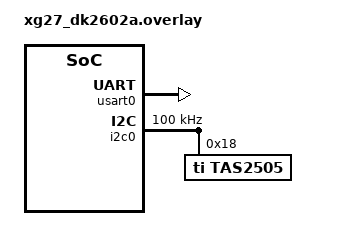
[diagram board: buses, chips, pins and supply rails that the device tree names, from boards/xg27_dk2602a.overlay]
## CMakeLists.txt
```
# SPDX-License-Identifier: Apache-2.0

cmake_minimum_required(VERSION 3.20.0)

find_package(Zephyr REQUIRED HINTS $ENV{ZEPHYR_BASE})
project(tas2505)

# Application configurations
set(FRAME_CLK_HZ 16000 CACHE STRING "I2S frame clock (Hz) for this sample")
set(WORD_SIZE 16 CACHE STRING "I2S sample word size in bits (16 or 32)")
set(AUDIO_SOURCE short_songs CACHE STRING "short_songs: runtime PD melodies | sine1khz: 1 kHz clock-validation tone (SRS 2.b)")
set(PLAYBACK_MODE one_shot CACHE STRING
	"Playback lifetime: one_shot (play once + stop + gate BCLK/LRCLK) | loopback (replay forever)")
set(CHANNEL_MODE mono_right CACHE STRING
	"Channel routing: mono_left | mono_right")

if(CHANNEL_MODE STREQUAL "mono_left")
	set(EXTRA_DTC_OVERLAY_FILE ${CMAKE_CURRENT_SOURCE_DIR}/boards/mono_left.overlay)
endif()

if(NOT WORD_SIZE STREQUAL "16" AND NOT WORD_SIZE STREQUAL "32")
	message(FATAL_ERROR "WORD_SIZE must be 16 or 32 (got ${WORD_SIZE})")
endif()

if(NOT AUDIO_SOURCE STREQUAL "short_songs"
   AND NOT AUDIO_SOURCE STREQUAL "sine1khz")
	message(FATAL_ERROR
		"AUDIO_SOURCE must be short_songs | sine1khz "
		"(got ${AUDIO_SOURCE})")
endif()

# sine1khz uses one of four pre-quantized 1 kHz clips (Fs = 8/16/44.1/48 kHz)
# generated by src/tools/gen_sine_pcm.py. Each clip is loop-clean at its
# native rate, so reject any FRAME_CLK_HZ outside the SRS-supported set.
set(_sine1khz_allowed_fs 8000 16000 44100 48000)
if(AUDIO_SOURCE STREQUAL "sine1khz"
   AND NOT FRAME_CLK_HZ IN_LIST _sine1khz_allowed_fs)
	message(FATAL_ERROR
		"AUDIO_SOURCE=sine1khz requires FRAME_CLK_HZ in "
		"{8000, 16000, 44100, 48000} (got ${FRAME_CLK_HZ}). "
		"Regenerate the clip with src/tools/gen_sine_pcm.py if "
		"you need a different rate.")
endif()

if(PLAYBACK_MODE STREQUAL "one_shot")
	set(PLAYBACK_LOOP 0)
elseif(PLAYBACK_MODE STREQUAL "loopback")
	set(PLAYBACK_LOOP 1)
else()
	message(FATAL_ERROR
		"PLAYBACK_MODE must be one_shot or loopback (got ${PLAYBACK_MODE})")
endif()

if(NOT CHANNEL_MODE STREQUAL "mono_left"
   AND NOT CHANNEL_MODE STREQUAL "mono_right")
	message(FATAL_ERROR
		"CHANNEL_MODE must be mono_left | mono_right "
		"(got ${CHANNEL_MODE})")
endif()

target_compile_definitions(app PRIVATE
	"FRAME_CLK_HZ=${FRAME_CLK_HZ}"
	"WORD_SIZE_BITS=${WORD_SIZE}"
	"CHANNEL_MODE_NAME=\"${CHANNEL_MODE}\""
	"PLAYBACK_LOOP=${PLAYBACK_LOOP}"
	"PLAYBACK_MODE_NAME=\"${PLAYBACK_MODE}\""
)

message(STATUS "tas2505: CHANNEL_MODE=${CHANNEL_MODE}")
message(STATUS "tas2505: PLAYBACK_MODE=${PLAYBACK_MODE} (loop=${PLAYBACK_LOOP})")

target_sources(app PRIVATE src/main.c src/tas2505.c)

if(AUDIO_SOURCE STREQUAL "sine1khz")
	target_compile_definitions(app PRIVATE AUDIO_SOURCE_SINE1KHZ=1)
	# Link exactly one pre-quantized clip matching FRAME_CLK_HZ; the others
	# stay out of the build entirely so flash usage is the cost of one clip.
	if(FRAME_CLK_HZ STREQUAL "8000")
		set(_sine_clip_src src/audio_sine/sine_8k.c)
	elseif(FRAME_CLK_HZ STREQUAL "16000")
		set(_sine_clip_src src/audio_sine/sine_16k.c)
	elseif(FRAME_CLK_HZ STREQUAL "44100")
		set(_sine_clip_src src/audio_sine/sine_44k.c)
	elseif(FRAME_CLK_HZ STREQUAL "48000")
		set(_sine_clip_src src/audio_sine/sine_48k.c)
	endif()
	target_sources(app PRIVATE
		src/audio_sine/audio_sine.c
		${_sine_clip_src})
	message(STATUS "tas2505: AUDIO_SOURCE=sine1khz @ FRAME_CLK_HZ=${FRAME_CLK_HZ} "
		"(clip: ${_sine_clip_src})")
else()
	target_compile_definitions(app PRIVATE AUDIO_SOURCE_SHORT_SONGS=1)
	target_sources(app PRIVATE src/audio_short_songs.c)
	message(STATUS "tas2505: AUDIO_SOURCE=short_songs @ FRAME_CLK_HZ=${FRAME_CLK_HZ} WORD_SIZE=${WORD_SIZE}")
endif()
```

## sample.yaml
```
sample:
  description: I2S TX to TAS2505 codec using EFR32 USART (xG27-DK2602A overlay)
  name: TAS2505 I2S TX
common:
  tags:
    - drivers
    - i2s
tests:
  sample.drivers.i2s.tas2505:
    build_only: true
    filter: dt_alias_exists("i2s-tx")
    platform_allow:
      - xg27_dk2602a
      - xg27_rb4194a
    integration_platforms:
      - xg27_dk2602a
      - xg27_rb4194a
  sample.drivers.i2s.tas2505.word_size_32:
    build_only: true
    filter: dt_alias_exists("i2s-tx")
    platform_allow:
      - xg27_dk2602a
      - xg27_rb4194a
    integration_platforms:
      - xg27_dk2602a
      - xg27_rb4194a
    extra_args: WORD_SIZE=32
  sample.drivers.i2s.tas2505.short_songs:
    build_only: true
    filter: dt_alias_exists("i2s-tx")
    platform_allow:
      - xg27_dk2602a
      - xg27_rb4194a
    integration_platforms:
      - xg27_rb4194a
    extra_args: AUDIO_SOURCE=short_songs FRAME_CLK_HZ=16000 WORD_SIZE=16
  sample.drivers.i2s.tas2505.mono_left:
    build_only: true
    filter: dt_alias_exists("i2s-tx")
    platform_allow:
      - xg27_dk2602a
      - xg27_rb4194a
    integration_platforms:
      - xg27_rb4194a
    extra_args: AUDIO_SOURCE=short_songs CHANNEL_MODE=mono_left
  sample.drivers.i2s.tas2505.mono_right:
    build_only: true
    filter: dt_alias_exists("i2s-tx")
    platform_allow:
      - xg27_dk2602a
      - xg27_rb4194a
    integration_platforms:
      - xg27_rb4194a
    extra_args: AUDIO_SOURCE=short_songs CHANNEL_MODE=mono_right
```

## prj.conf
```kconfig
CONFIG_LOG=y
CONFIG_DMA=y
CONFIG_I2S=y
CONFIG_I2C=y
CONFIG_PRINTK=y

CONFIG_MAIN_STACK_SIZE=2048
```

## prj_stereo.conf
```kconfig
# Overlay applied automatically when CMake is invoked with -DSTEREO=1.
# Switches the EFR32 USART-I2S driver from MONO HW to STEREO HW so
# i2s_configure() accepts channels=2.
CONFIG_I2S_SILABS_EFR32_USART_STEREO=y
```

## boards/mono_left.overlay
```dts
/*
 * CHANNEL_MODE=mono_left: route mono samples to the LRCLK-low slot via DT
 * (default is right). See silabs,efr32-usart-i2s binding.
 */
&usart0 {
	silabs,mono-tx-slot = "left";
};
```

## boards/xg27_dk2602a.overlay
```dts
/*
 * xG27-DK2602A: USART0 is routed by default to the on-board MX25R8035F
 * flash as SPI (PC0/PC1/PC2/PC3). This overlay disables that flash node,
 * drops the SPI cs-gpios, and re-purposes the same pins as USART0 I2S
 * (TX=PC0, RX=PC1, SCLK=PC2, WS/CS=PC3) for driving a TAS2505 codec.
 */

#include <zephyr/dt-bindings/pinctrl/silabs/xg27-pinctrl.h>
#include <zephyr/dt-bindings/dma/silabs/xg27-dma.h>

&dma0 {
	status = "okay";
};

/ {
	aliases {
		i2s-tx = &usart0;
	};
};

&pinctrl {
	usart0_i2s_default: usart0_i2s_default {
		group0 {
			pins = <USART0_TX_PC0>, <USART0_CLK_PC2>, <USART0_CS_PB2>;
			drive-push-pull;
			output-high;
		};

		group1 {
			pins = <USART0_RX_PC1>;
			input-enable;
		};
	};
};

/* MX25R8035F on the thunderboard shares USART0/PC0-PC3 with I2S use. */
/delete-node/ &mx25r80;

&usart0 {
	compatible = "silabs,usart-i2s";
	/delete-property/ cs-gpios;
	#address-cells = <1>;
	#size-cells = <0>;
	status = "okay";
	pinctrl-0 = <&usart0_i2s_default>;
	pinctrl-names = "default";
	/* MCLK via silabs,mclk-out — do not list &clkout2 under clocks. */
	silabs,mclk-out = <&clkout2>;
	dmas = <&dma0 DMA_REQSEL_USART0TXBL>,
	       <&dma0 DMA_REQSEL_USART0TXBLRIGHT>,
	       <&dma0 DMA_REQSEL_USART0RXDATAV>;
	dma-names = "txbl", "txblright", "rx";
};

/*
 * MCLK via CMU CLKOUT2 on PB0. SYSCLK = HFRCODPLL = 76.8 MHz (default, untouched).
 * Source EXPORTCLK (HFEXPCLK) with clock-div = 4 -> 19.2 MHz on the pin.
 * Pin mux + EXPORTCLK enable happen on I2S configure (clock_control_on).
 */
&pinctrl {
	clkout_default: clkout_default {
		group0 {
			pins = <CMU_CLKOUT2_PB0>;
			drive-push-pull;
		};
	};
};

&exportclk {
	clock-div = <4>;	/* SYSCLK 76.8 MHz / 4 = 19.2 MHz */
};
&clkout {
	pinctrl-0 = <&clkout_default>;
	pinctrl-names = "default";
	status = "okay";
};
&clkout2 {
	clocks = <&exportclk>;
	status = "okay";
};

/*
 * I2C0 control bus to TAS2505.  Confirm the SDA/SCL pin pair on your wiring
 * (xG27 DK2602A breaks I2C0 out as PD2/PD3 by default).
 */
&pinctrl {
	i2c0_default: i2c0_default {
		group0 {
			/* TODO: replace with the SDA/SCL pads you wired. */
			pins = <I2C0_SDA_PD2>, <I2C0_SCL_PD3>;
			drive-open-drain;
			bias-pull-up;
		};
	};
};

&i2c0 {
	status = "okay";
	pinctrl-0 = <&i2c0_default>;
	pinctrl-names = "default";
	clock-frequency = <I2C_BITRATE_STANDARD>; /* 100 kHz; bump to FAST if needed */

	tas2505: tas2505@18 {
		compatible = "ti,tas2505";  /* informational; no Zephyr driver */
		reg = <0x18>;
		status = "okay";
	};
};

/ {
	aliases {
		codec-tas2505 = &i2c0;
	};
};
```

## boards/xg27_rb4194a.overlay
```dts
/*
 * xG27-RB4194A (BRD4194A): EUSART0 uses PC0/PC1/PC2 for the on-board MX25R8035F
 * SPI flash. This overlay disables that flash (and EUSART0), then configures
 * USART0 in I2S mode on the same pins plus PC3 for word select.
 *
 * I2C0 stays on PB2/PB3 (board default) for the TAS2505 control bus.
 * USART1 remains the console (PA5/PA6).
 *
 * Wire I2S to the expansion header: PC0=TX (EXP4), PC1=RX (EXP6),
 * PC2=BCLK (EXP8), PC3=LRCLK (EXP10).
 * MCLK is CMU CLKOUT2 on PB0 (EXP7), 19.2 MHz (EXPORTCLK / 4).
 * Note: PB0 is shared with on-board LED0 / button0.
 */

#include <zephyr/dt-bindings/pinctrl/silabs/xg27-pinctrl.h>
#include <zephyr/dt-bindings/dma/silabs/xg27-dma.h>

&dma0 {
	status = "okay";
};

/ {
	aliases {
		i2s-tx = &usart0;
		/delete-property/ spi-flash0;
	};
};

&pinctrl {
	usart0_i2s_default: usart0_i2s_default {
		group0 {
			pins = <USART0_TX_PC0>, <USART0_CLK_PC2>, <USART0_CS_PC3>;
			drive-push-pull;
			output-high;
		};

		group1 {
			pins = <USART0_RX_PC1>;
			input-enable;
		};
	};
};

&mx25r80 {
	status = "disabled";
};

&ls013b7dh03 {
	status = "disabled";
};

&eusart0 {
	status = "disabled";
};

&usart0 {
	compatible = "silabs,usart-i2s";
	#address-cells = <1>;
	#size-cells = <0>;
	status = "okay";
	pinctrl-0 = <&usart0_i2s_default>;
	pinctrl-names = "default";
	/*
	 * MCLK via silabs,mclk-out (not clocks/clock-names): listing &clkout2
	 * under clocks hung boot on RB4194A before UART (bisect a1a174a92).
	 */
	silabs,mclk-out = <&clkout2>;
	dmas = <&dma0 DMA_REQSEL_USART0TXBL>,
	       <&dma0 DMA_REQSEL_USART0TXBLRIGHT>,
	       <&dma0 DMA_REQSEL_USART0RXDATAV>;
	dma-names = "txbl", "txblright", "rx";
};

/* MCLK via CMU CLKOUT2 on PB0 (EXP7): EXPORTCLK / clock-div 4 = 19.2 MHz. */
&pinctrl {
	clkout_default: clkout_default {
		group0 {
			pins = <CMU_CLKOUT2_PB0>;
			drive-push-pull;
		};
	};
};

&exportclk {
	clock-div = <4>;	/* SYSCLK 76.8 MHz / 4 = 19.2 MHz */
};
&clkout {
	pinctrl-0 = <&clkout_default>;
	pinctrl-names = "default";
	status = "okay";
};
&clkout2 {
	clocks = <&exportclk>;
	status = "okay";
};

&i2c0 {
	tas2505: tas2505@18 {
		compatible = "ti,tas2505";
		reg = <0x18>;
		status = "okay";
	};
};

/ {
	aliases {
		codec-tas2505 = &i2c0;
	};
};
```

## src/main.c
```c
/*
 * Copyright (c) 2026 Silicon Laboratories Inc.
 *
 * SPDX-License-Identifier: Apache-2.0
 *
 * Plays audio on USART0 I2S for TAS2505 / I2S DAC.
 *
 * Build-time audio source (CMake AUDIO_SOURCE):
 *   short_songs - runtime public-domain melodies (FRAME_CLK_HZ, WORD_SIZE_BITS)
 *   sine1khz    - pre-quantized 1 kHz clip (FRAME_CLK_HZ must match clip rate)
 *
 * Build-time channel routing (CMake CHANNEL_MODE, mono DMASPLIT only):
 *   mono_left  - audio in L slot, R silent (boards/mono_left.overlay sets
 *                silabs,mono-tx-slot = "left")
 *   mono_right - audio in R slot, L silent (default silabs,mono-tx-slot)
 */

#include <string.h>

#include <zephyr/devicetree.h>
#include <zephyr/kernel.h>
#include <zephyr/drivers/i2c.h>
#include <zephyr/drivers/i2s.h>
#include <zephyr/logging/log.h>

#include "audio.h"
#include "app_config.h"
#include "tas2505.h"

#define CODEC_I2C_NODE DT_ALIAS(codec_tas2505)

#if DT_HAS_COMPAT_STATUS_OKAY(silabs_series_clock_clkout)
/*
 * MCLK comes from a CMU CLKOUT (silabs,series-clock-clkout) sourced from
 * EXPORTCLK (HFEXPCLK = SYSCLK) divided by clock-div. SYSCLK = HFRCODPLL
 * default 76.8 MHz on xG27, so clock-div = 4 -> 19.2 MHz.
 */
#define TAS2505_MCO_NODE  DT_COMPAT_GET_ANY_STATUS_OKAY(silabs_series_clock_clkout)
#define TAS2505_SYSCLK_HZ 76800000U
#define CODEC_MCLK_HZ     (TAS2505_SYSCLK_HZ / (uint32_t)DT_PROP_OR(TAS2505_MCO_NODE, clock_div, 1))
#else
#define CODEC_MCLK_HZ 19200000U
#endif

LOG_MODULE_REGISTER(tas2505_sample, LOG_LEVEL_INF);


#if WORD_SIZE_BITS == 16
typedef int16_t sample_t;
#define SAMPLE_EXPAND(m) ((sample_t)(m))
#elif WORD_SIZE_BITS == 32
typedef int32_t sample_t;
/*
 * The EFR32 USART I2S driver runs in W32D16 (32-bit slot, 16-bit data); the
 * driver comment in i2s_silabs_efr32_usart.c is explicit:
 *
 *   W32D16: int32_t [L0, R0, L1, R1, ...]    -- audio in low 16 bits
 *
 * So we put the int16 mono sample into the LOW 16 bits of the int32 slot
 * and leave the upper 16 bits as zero. The cast chain int16 -> uint16 ->
 * uint32 keeps the sign-magnitude bits intact without sign-extending into
 * the upper half (which the USART would otherwise shift out as garbage).
 */
#define SAMPLE_EXPAND(m) ((sample_t)(uint32_t)(uint16_t)(int16_t)(m))
#else
#error "WORD_SIZE_BITS must be 16 or 32"
#endif

#define NUM_BLOCKS         8
#define SAMPLES_PER_BLOCK  256
#define PREROLL_BLOCKS     0
#define TAIL_SILENT_BLOCKS 0
#define BLOCK_FRAMES       SAMPLES_PER_BLOCK
#define DRAIN_TIMEOUT_MS   2000U
#define I2S_CHANNELS 1U
#define BLOCK_SIZE   (SAMPLES_PER_BLOCK * (int)sizeof(sample_t))
#define I2S_OPTIONS (I2S_OPT_FRAME_CLK_CONTROLLER | I2S_OPT_BIT_CLK_CONTROLLER)

K_MEM_SLAB_DEFINE(tx_slab, WB_UP(BLOCK_SIZE), NUM_BLOCKS, WB_UP(32));

static void fill_block(sample_t *tx, unsigned n)
{
#if WORD_SIZE_BITS == 16
  audio_fill_mono(tx, n);
#else
  int16_t mono[SAMPLES_PER_BLOCK];

  audio_fill_mono(mono, n);
  for (unsigned i = 0; i < n; i++) {
    tx[i] = SAMPLE_EXPAND(mono[i]);
  }
#endif
}

int main(void)
{
  void *tx_block;
  struct i2s_config i2s_cfg;
  int ret;
  const struct device *dev = DEVICE_DT_GET(DT_ALIAS(i2s_tx));

  audio_init();

  LOG_INF("sample start board=%s audio=%s channels=%s i2s_ch=%u playback=%s "
          "FRAME_CLK_HZ=%d WORD_SIZE=%d block=%u",
          CONFIG_BOARD_TARGET, audio_source_name(), CHANNEL_MODE_NAME,
          (unsigned int)I2S_CHANNELS, PLAYBACK_MODE_NAME, FRAME_CLK_HZ,
          WORD_SIZE_BITS, (unsigned int)BLOCK_SIZE);

  if (!device_is_ready(dev)) {
    LOG_ERR("I2S device not ready");
    return -ENODEV;
  }

  i2s_cfg.word_size = WORD_SIZE_BITS;
  i2s_cfg.channels = I2S_CHANNELS;
  i2s_cfg.format = I2S_FMT_DATA_FORMAT_I2S;
  i2s_cfg.frame_clk_freq = FRAME_CLK_HZ;
  i2s_cfg.block_size = BLOCK_SIZE;
  i2s_cfg.timeout = 2000;
  i2s_cfg.options = I2S_OPTIONS;
  i2s_cfg.mem_slab = &tx_slab;

  ret = i2s_configure(dev, I2S_DIR_TX, &i2s_cfg);
  if (ret < 0) {
    LOG_ERR("i2s_configure failed: %d", ret);
    return ret;
  }
  LOG_INF("i2s_configure ok");

  const struct device *codec_i2c = DEVICE_DT_GET(CODEC_I2C_NODE);
  const struct tas2505_init_params codec_p = {
    .mclk_hz = CODEC_MCLK_HZ,
    .sample_rate = FRAME_CLK_HZ,
    .word_bits = WORD_SIZE_BITS,
    .mcu_is_master = true,
  };

  LOG_INF("TAS2505 MCLK from DT: %u Hz", CODEC_MCLK_HZ);
  ret = tas2505_init(codec_i2c, &codec_p);
  if (ret < 0) {
    LOG_ERR("tas2505_init failed: %d", ret);
    return ret;
  }

  for (unsigned int i = 0U; i < PREROLL_BLOCKS; i++) {
    ret = k_mem_slab_alloc(&tx_slab, &tx_block, K_FOREVER);
    if (ret < 0) {
      LOG_ERR("slab alloc (pre-roll) failed: %d", ret);
      return ret;
    }
    memset(tx_block, 0, BLOCK_SIZE);
    ret = i2s_write(dev, tx_block, BLOCK_SIZE);
    if (ret < 0) {
      LOG_ERR("i2s_write (pre-roll) failed: %d", ret);
      return ret;
    }
  }
  LOG_INF("pre-roll queued: %u silent blocks", (unsigned int)PREROLL_BLOCKS);

  LOG_INF("I2S START @ %d Hz", FRAME_CLK_HZ);
  ret = i2s_trigger(dev, I2S_DIR_TX, I2S_TRIGGER_START);
  if (ret < 0) {
    LOG_ERR("i2s_trigger START failed: %d", ret);
    return ret;
  }

#if PLAYBACK_LOOP
  /*
   * Loopback mode: stream forever; audio_is_done() is hard-wired to
   * false so the source itself wraps back to the start of the clip /
   * playlist.
   */
  while (1) {
    ret = k_mem_slab_alloc(&tx_slab, &tx_block, K_FOREVER);
    if (ret < 0) {
      LOG_ERR("slab alloc failed: %d", ret);
      return ret;
    }

    fill_block((sample_t *)tx_block, SAMPLES_PER_BLOCK);

    ret = i2s_write(dev, tx_block, BLOCK_SIZE);
    if (ret < 0) {
      LOG_ERR("i2s_write failed: %d", ret);
      return ret;
    }
  }
#else
  /* One-shot playback: stream blocks until the audio source signals done. */
  while (!audio_is_done()) {
    ret = k_mem_slab_alloc(&tx_slab, &tx_block, K_FOREVER);
    if (ret < 0) {
      LOG_ERR("slab alloc failed: %d", ret);
      return ret;
    }

    fill_block((sample_t *)tx_block, SAMPLES_PER_BLOCK);

    ret = i2s_write(dev, tx_block, BLOCK_SIZE);
    if (ret < 0) {
      LOG_ERR("i2s_write failed: %d", ret);
      return ret;
    }
  }

  LOG_INF("audio source reports done; queuing %u silent tail blocks",
          (unsigned int)TAIL_SILENT_BLOCKS);

  for (unsigned int i = 0U; i < TAIL_SILENT_BLOCKS; i++) {
    ret = k_mem_slab_alloc(&tx_slab, &tx_block, K_FOREVER);
    if (ret < 0) {
      LOG_ERR("slab alloc (tail) failed: %d", ret);
      return ret;
    }
    memset(tx_block, 0, BLOCK_SIZE);
    ret = i2s_write(dev, tx_block, BLOCK_SIZE);
    if (ret < 0) {
      LOG_ERR("i2s_write (tail) failed: %d", ret);
      return ret;
    }
  }

  ret = i2s_trigger(dev, I2S_DIR_TX, I2S_TRIGGER_DRAIN);
  if (ret < 0) {
    LOG_ERR("i2s_trigger DRAIN failed: %d", ret);
    return ret;
  }

  const uint32_t drain_ms_est = (uint32_t)((NUM_BLOCKS + TAIL_SILENT_BLOCKS)
                                           * BLOCK_FRAMES * 1000ULL
                                           / (uint32_t)FRAME_CLK_HZ) + 100U;
  const uint32_t drain_ms = drain_ms_est < DRAIN_TIMEOUT_MS
                            ? drain_ms_est : DRAIN_TIMEOUT_MS;

  LOG_INF("draining (~%u ms)...", (unsigned int)drain_ms);
  k_sleep(K_MSEC(drain_ms));

  struct i2s_config i2s_off = { 0 };

  ret = i2s_configure(dev, I2S_DIR_TX, &i2s_off);
  if (ret < 0) {
    LOG_ERR("i2s_configure(off) failed: %d", ret);
    return ret;
  }
  LOG_INF("I2S stopped; BCLK/LRCLK gated. Probe pins to confirm: "
          "DIN/BCLK/LRCLK should be idle.");

  while (1) {
    k_sleep(K_FOREVER);
  }
#endif

  return 0;
}
```

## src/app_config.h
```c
/*
 * Copyright (c) 2026 Silicon Laboratories Inc.
 *
 * SPDX-License-Identifier: Apache-2.0
 *
 * Fallback defaults when CMake target_compile_definitions are absent (e.g. IDE).
 */

#ifndef APP_CONFIG_H
#define APP_CONFIG_H

#ifndef PLAYBACK_LOOP
#define PLAYBACK_LOOP           0
#endif

#ifndef FRAME_CLK_HZ
#define FRAME_CLK_HZ            16000
#endif

#ifndef WORD_SIZE_BITS
#define WORD_SIZE_BITS          16
#endif

#ifndef CHANNEL_MODE_NAME
#define CHANNEL_MODE_NAME       "mono_right"
#endif

#ifndef PLAYBACK_MODE_NAME
#define PLAYBACK_MODE_NAME      "one_shot"
#endif

#endif /* APP_CONFIG_H */
```

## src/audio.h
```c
/*
 * Copyright (c) 2026 Silicon Laboratories Inc.
 *
 * SPDX-License-Identifier: Apache-2.0
 */

#ifndef AUDIO_H
#define AUDIO_H

#include <stdbool.h>
#include <stddef.h>
#include <stdint.h>

/*
 * Mono int16_t source; main.c applies WORD_SIZE_BITS slot expansion when needed.
 *
 * Playback is one-shot: once the underlying clip / playlist has been pulled
 * once, audio_is_done() returns true and audio_fill_mono() emits silence so
 * main.c can flush a clean tail before stopping the I2S engine.
 */
void audio_init(void);
const char *audio_source_name(void);
unsigned audio_fill_mono(int16_t *dest, unsigned n);
bool audio_is_done(void);

#endif /* AUDIO_H */
```

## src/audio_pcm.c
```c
/*
 * Copyright (c) 2026 Silicon Laboratories Inc.
 *
 * SPDX-License-Identifier: Apache-2.0
 *
 * Embedded song_pcm[] (MP3/ffmpeg or wav2c). Requires AUDIO_SOURCE_PCM=1.
 *
 * PLAYBACK_LOOP (CMake PLAYBACK_MODE):
 *   0 (one_shot, default): play the buffer exactly once, then audio_is_done()
 *                          returns true and audio_fill_mono() emits silence.
 *   1 (loopback):          wrap the buffer to the start forever; audio_is_done()
 *                          stays false so main.c never tears down the engine.
 */

#include <string.h>

#include "audio.h"
#include "song_pcm.h"

#ifndef PLAYBACK_LOOP
#define PLAYBACK_LOOP 0
#endif

static uint32_t pcm_idx;
static bool done;

void audio_init(void)
{
  pcm_idx = 0U;
  done = false;
}

const char *audio_source_name(void)
{
  return "song_pcm";
}

bool audio_is_done(void)
{
  return done;
}

unsigned audio_fill_mono(int16_t *dest, unsigned n)
{
  const uint32_t total = (uint32_t)SONG_PCM_SAMPLE_NO;
  unsigned written = 0U;

  if (done) {
    memset(dest, 0, n * sizeof(int16_t));
    return n;
  }

  while (written < n) {
    if (pcm_idx >= total) {
#if PLAYBACK_LOOP
      /* loopback mode: rewind to the start of the clip. */
      pcm_idx = 0U;
#else
      /* one-shot mode: mark done and pad with silence. */
      done = true;
      memset(&dest[written], 0,
             (n - written) * sizeof(int16_t));
      return n;
#endif
    }

    unsigned chunk = n - written;

    if (pcm_idx + chunk > total) {
      chunk = total - pcm_idx;
    }

    for (unsigned i = 0U; i < chunk; i++) {
      dest[written + i] = song_pcm[pcm_idx + i];
    }

    pcm_idx += chunk;
    written += chunk;
  }

  return written;
}
```

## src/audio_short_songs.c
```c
/*
 * Copyright (c) 2026 Silicon Laboratories Inc.
 *
 * SPDX-License-Identifier: Apache-2.0
 *
 * Runtime synthesis of short public-domain melodies. Timing uses FRAME_CLK_HZ
 * (sample rate); output is always int16_t mono (main.c handles WORD_SIZE_BITS).
 *
 * PLAYBACK_LOOP (CMake PLAYBACK_MODE):
 *   0 (one_shot): play the playlist exactly once, then audio_is_done() returns
 *                 true and next_sample() emits silence.
 *   1 (loopback): wrap the playlist to the first song forever; audio_is_done()
 *                 stays false.
 */

#include <string.h>

#include "audio.h"
#include "app_config.h"

#define SINE_TABLE_LEN 64
#define SONG_GAP_MS    400U
#define BEAT_MS        300U

/* Hz; 0 = rest */
enum {
  HZ_REST = 0,
  HZ_C4 = 262, HZ_D4 = 294, HZ_E4 = 330, HZ_F4 = 349,
  HZ_G4 = 392, HZ_A4 = 440, HZ_B4 = 494,
  HZ_C5 = 523, HZ_D5 = 587, HZ_E5 = 659, HZ_F5 = 698,
  HZ_G5 = 784, HZ_A5 = 880,
};

struct note_entry {
  uint16_t hz;
  uint16_t dur_ms;
};

/* Ode to Joy (public domain) */
static const struct note_entry ode_to_joy[] = {
  { HZ_E4, BEAT_MS }, { HZ_E4, BEAT_MS }, { HZ_F4, BEAT_MS }, { HZ_G4, BEAT_MS },
  { HZ_G4, BEAT_MS }, { HZ_F4, BEAT_MS }, { HZ_E4, BEAT_MS }, { HZ_D4, BEAT_MS },
  { HZ_C4, BEAT_MS }, { HZ_C4, BEAT_MS }, { HZ_D4, BEAT_MS }, { HZ_E4, BEAT_MS },
  { HZ_E4, BEAT_MS + BEAT_MS / 2U }, { HZ_D4, BEAT_MS / 2U }, { HZ_D4, 2U * BEAT_MS },
  { HZ_E4, BEAT_MS }, { HZ_E4, BEAT_MS }, { HZ_F4, BEAT_MS }, { HZ_G4, BEAT_MS },
  { HZ_G4, BEAT_MS }, { HZ_F4, BEAT_MS }, { HZ_E4, BEAT_MS }, { HZ_D4, BEAT_MS },
  { HZ_C4, BEAT_MS }, { HZ_C4, BEAT_MS }, { HZ_D4, BEAT_MS }, { HZ_E4, BEAT_MS },
  { HZ_D4, BEAT_MS + BEAT_MS / 2U }, { HZ_C4, BEAT_MS / 2U }, { HZ_C4, 2U * BEAT_MS },
};

/* Bach, Minuet in G (opening, public domain) — 300 ms per quarter */
static const struct note_entry minuet_g[] = {
  { HZ_D5, 2U * BEAT_MS }, { HZ_G4, BEAT_MS }, { HZ_A4, BEAT_MS }, { HZ_B4, BEAT_MS },
  { HZ_C5, BEAT_MS }, { HZ_D5, 2U * BEAT_MS }, { HZ_G4, BEAT_MS }, { HZ_G4, BEAT_MS },
  { HZ_E5, 2U * BEAT_MS }, { HZ_C5, BEAT_MS }, { HZ_D5, BEAT_MS }, { HZ_E5, BEAT_MS },
  { HZ_F5, BEAT_MS }, { HZ_G5, 2U * BEAT_MS }, { HZ_G4, BEAT_MS }, { HZ_G4, BEAT_MS },
  { HZ_C5, BEAT_MS }, { HZ_D5, BEAT_MS }, { HZ_C5, BEAT_MS }, { HZ_B4, BEAT_MS },
  { HZ_A4, BEAT_MS }, { HZ_B4, BEAT_MS }, { HZ_C5, BEAT_MS }, { HZ_A4, BEAT_MS },
  { HZ_B4, BEAT_MS }, { HZ_A4, BEAT_MS }, { HZ_G4, BEAT_MS }, { HZ_F4, BEAT_MS },
  { HZ_G4, 4U * BEAT_MS },
};

/* Jingle Bells chorus excerpt (public domain) */
static const struct note_entry jingle_bells[] = {
  { HZ_E5, BEAT_MS }, { HZ_E5, BEAT_MS }, { HZ_E5, 2U * BEAT_MS },
  { HZ_E5, BEAT_MS }, { HZ_E5, BEAT_MS }, { HZ_E5, 2U * BEAT_MS },
  { HZ_E5, BEAT_MS }, { HZ_G5, BEAT_MS },
  { HZ_C5, BEAT_MS + BEAT_MS / 2U }, { HZ_D5, BEAT_MS / 2U },
  { HZ_E5, 4U * BEAT_MS },
  { HZ_F5, BEAT_MS }, { HZ_F5, BEAT_MS },
  { HZ_F5, BEAT_MS + BEAT_MS / 2U }, { HZ_F5, BEAT_MS / 2U },
  { HZ_F5, BEAT_MS }, { HZ_E5, BEAT_MS },
  { HZ_E5, BEAT_MS }, { HZ_E5, BEAT_MS / 2U }, { HZ_E5, BEAT_MS / 2U },
  { HZ_G5, BEAT_MS }, { HZ_G5, BEAT_MS }, { HZ_F5, BEAT_MS }, { HZ_D5, BEAT_MS },
  { HZ_C5, 4U * BEAT_MS },
};

struct song_slot {
  const struct note_entry *notes;
  size_t note_count;
};

static const struct song_slot playlist[] = {
  { ode_to_joy, sizeof(ode_to_joy) / sizeof(ode_to_joy[0]) },
  { minuet_g, sizeof(minuet_g) / sizeof(minuet_g[0]) },
  { jingle_bells, sizeof(jingle_bells) / sizeof(jingle_bells[0]) },
};

static const int16_t sine_table[SINE_TABLE_LEN] = {
  0, 3211, 6392, 9511, 12539, 15446, 18204, 20787, 23169, 25329, 27244, 28897,
  30272, 31356, 32137, 32609, 32767, 32609, 32137, 31356, 30272, 28897, 27244,
  25329, 23169, 20787, 18204, 15446, 12539, 9511, 6392, 3211, 0, -3212, -6393,
  -9512, -12540, -15447, -18205, -20788, -23170, -25330, -27245, -28898, -30273,
  -31357, -32138, -32610, -32767, -32610, -32138, -31357, -30273, -28898, -27245,
  -25330, -23170, -20788, -18205, -15447, -12540, -9512, -6393, -3212,
};

static uint32_t ms_to_samples(uint16_t ms)
{
  return ((uint32_t)ms * (uint32_t)FRAME_CLK_HZ) / 1000U;
}

static uint32_t hz_to_phase_inc(uint16_t hz)
{
  if (hz == 0U) {
    return 0U;
  }

  return (uint32_t)(((uint64_t)hz * (uint64_t)UINT32_MAX)
                    / (uint64_t)FRAME_CLK_HZ);
}

struct synth_ctx {
  size_t song_idx;
  size_t note_idx;
  uint32_t note_remaining;
  uint32_t gap_remaining;
  uint32_t phase;
  uint32_t phase_inc;
  uint16_t cur_hz;
  uint32_t attack_len;
  uint32_t release_len;
  uint32_t note_pos;
};

static struct synth_ctx ctx;
static bool done;

static void start_note(uint16_t hz, uint16_t dur_ms)
{
  ctx.cur_hz = hz;
  ctx.note_remaining = ms_to_samples(dur_ms);
  ctx.note_pos = 0U;
  ctx.phase = 0U;
  ctx.phase_inc = hz_to_phase_inc(hz);
  ctx.attack_len = ms_to_samples(5U);
  ctx.release_len = ms_to_samples(40U);
  if (ctx.release_len > ctx.note_remaining / 4U) {
    ctx.release_len = ctx.note_remaining / 4U;
  }
}

static void start_song_gap(void)
{
  ctx.gap_remaining = ms_to_samples(SONG_GAP_MS);
  ctx.note_remaining = 0U;
}

static void advance_note(void)
{
  const struct song_slot *slot = &playlist[ctx.song_idx];

  if (ctx.note_idx >= slot->note_count) {
    ctx.song_idx++;
    if (ctx.song_idx >= sizeof(playlist) / sizeof(playlist[0])) {
#if PLAYBACK_LOOP
      /* loopback mode: restart from the first song. */
      ctx.song_idx = 0U;
#else
      /* one-shot mode: played the whole playlist once -> stop. */
      done = true;
      ctx.note_remaining = 0U;
      ctx.gap_remaining = 0U;
      return;
#endif
    }
    ctx.note_idx = 0U;
    start_song_gap();
    return;
  }

  const struct note_entry *n = &slot->notes[ctx.note_idx++];

  start_note(n->hz, n->dur_ms);
}

static int16_t next_sample(void)
{
  if (done) {
    return 0;
  }

  if (ctx.gap_remaining > 0U) {
    ctx.gap_remaining--;
    if (ctx.gap_remaining == 0U) {
      advance_note();
    }
    return 0;
  }

  if (ctx.note_remaining == 0U) {
    advance_note();
    if (done) {
      return 0;
    }
    return next_sample();
  }

  ctx.note_remaining--;
  ctx.note_pos++;

  if (ctx.cur_hz == 0U) {
    return 0;
  }

  uint32_t idx = (ctx.phase >> 26) & (SINE_TABLE_LEN - 1U);

  ctx.phase += ctx.phase_inc;

  int32_t s = sine_table[idx];
  uint32_t env_q15 = 32767U;

  if (ctx.note_pos < ctx.attack_len && ctx.attack_len > 0U) {
    env_q15 = (32767U * ctx.note_pos) / ctx.attack_len;
  } else if (ctx.note_remaining < ctx.release_len && ctx.release_len > 0U) {
    env_q15 = (32767U * ctx.note_remaining) / ctx.release_len;
  }

  return (int16_t)((s * (int32_t)env_q15) / 32767);
}

void audio_init(void)
{
  memset(&ctx, 0, sizeof(ctx));
  done = false;
  advance_note();
}

const char *audio_source_name(void)
{
  return "short_songs";
}

bool audio_is_done(void)
{
  return done;
}

unsigned audio_fill_mono(int16_t *dest, unsigned n)
{
  for (unsigned i = 0U; i < n; i++) {
    dest[i] = next_sample();
  }

  return n;
}
```

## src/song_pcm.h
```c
/*
 * Copyright (c) 2026 Silicon Laboratories Inc.
 *
 * SPDX-License-Identifier: Apache-2.0
 *
 * Mono 16-bit signed PCM samples (sample rate must match FRAME_CLK_HZ).
 *
 * Flash budget (xG27 ~768 KiB): embedding large clips overflows rodata. As a
 * rule of thumb stay under ~500 KiB PCM (~15 s @ 16 kHz mono s16), or use lower
 * fs / shorter duration / external storage.
 * Generate song_pcm.c with wav2c (https://github.com/tuna-f1sh/wav2c):
 *
 *   ffmpeg -i your_song.mp3 -t 15 -ac 1 -ar 16000 -sample_fmt s16 song.wav
 *   wav2c -o song_pcm.c --array-name song_pcm song.wav
 *
 * Make sure -ar matches FRAME_CLK_HZ in your build (-DFRAME_CLK_HZ=16000).
 */

#ifndef SONG_PCM_H
#define SONG_PCM_H

#include <stddef.h>
#include <stdint.h>

extern const size_t SONG_PCM_SAMPLE_NO;

/* Mono s16 PCM; main.c expands to 32-bit I2S slots when WORD_SIZE_BITS=32. */
extern const int16_t song_pcm[];

#endif /* SONG_PCM_H */
```

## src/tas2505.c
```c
/*
 * Copyright (c) 2026 Silicon Laboratories Inc.
 *
 * SPDX-License-Identifier: Apache-2.0
 *
 * TAS2505 codec control over I2C.
 *
 * Sequencing follows TI SLAA557 / SLAU472C:
 *   1. SW reset
 *   2. Power up reference + LDO
 *   3. Program PLL/NDAC/MDAC/DOSR for the requested fs
 *   4. Audio interface format and DAC setup and unmute
 *   5. Route to mixer/speaker driver
 */

#include "tas2505.h"

#include <errno.h>
#include <zephyr/drivers/i2c.h>
#include <zephyr/kernel.h>
#include <zephyr/logging/log.h>

LOG_MODULE_REGISTER(tas2505, LOG_LEVEL_INF);

static uint8_t cur_page = 0xFF;

#define PLL_CLK_MIN_HZ  80000000U
#define PLL_CLK_MAX_HZ 110000000U

/**************************************************************************
* Low-level register access
**************************************************************************/
static int tas2505_select_page(const struct device *i2c, uint8_t page)
{
  if (page == cur_page) {
    return 0;
  }

  /* Page 0, register 0 is the page select register */
  uint8_t buf[2] = { 0x00, page };
  int ret = i2c_write(i2c, buf, sizeof(buf), TAS2505_I2C_ADDR);
  if (ret == 0) {
    cur_page = page;
  }
  return ret;
}

static int tas2505_write(const struct device *i2c, uint16_t reg, uint8_t val)
{
  int ret = tas2505_select_page(i2c, TAS2505_REG_PAGE(reg));
  if (ret < 0) {
    return ret;
  }

  uint8_t buf[2] = { TAS2505_REG_OFFSET(reg), val };
  ret = i2c_write(i2c, buf, sizeof(buf), TAS2505_I2C_ADDR);
  if (ret < 0) {
    LOG_ERR("I2C write reg=0x%04x val=0x%02x ret=%d", reg, val, ret);
  }
  return ret;
}

__maybe_unused static int tas2505_read(const struct device *i2c, uint16_t reg, uint8_t *out)
{
  int ret = tas2505_select_page(i2c, TAS2505_REG_PAGE(reg));
  if (ret < 0) {
    return ret;
  }

  uint8_t off = TAS2505_REG_OFFSET(reg);
  return i2c_write_read(i2c, TAS2505_I2C_ADDR, &off, 1, out, 1);
}

/**************************************************************************
* Convenience for (reg, val) initialization tables.
**************************************************************************/
struct reg_seq {
  uint16_t reg;
  uint8_t val;
};

static int tas2505_apply_seq(const struct device *i2c,
                             const struct reg_seq *seq, size_t n)
{
  for (size_t i = 0; i < n; i++) {
    int ret = tas2505_write(i2c, seq[i].reg, seq[i].val);
    if (ret < 0) {
      return ret;
    }
  }
  return 0;
}

/**************************************************************************
* PLL / DAC clock-tree dividers
**************************************************************************/
struct tas2505_rate_divs {
  uint8_t  pll_p;
  uint8_t  pll_r;
  uint8_t  pll_j;
  uint16_t pll_d;
  uint8_t  ndac;
  uint8_t  mdac;
  uint16_t dosr;
};

/*
 * Hand-tuned for MCLK = 19.2 MHz (xG27 EXPCLK = HFRCODPLL/prescaler = 76.8/4).
 * PLL_CLK = MCLK * R * (J + D/10000) / P.  Targeted PLL_CLK chosen so that
 * NDAC * MDAC * DOSR * fs == PLL_CLK and PLL_CLK lies in [80, 110] MHz.
 *
 * If you change MCLK, recompute these or add a new table entry.
 */
static int tas2505_clk_get_divs(uint32_t mclk_hz, uint32_t fs,
                                struct tas2505_rate_divs *desired_rate_divs)
{
  if (mclk_hz == 19200000U) {
    switch (fs) {
      case 48000U:
        *desired_rate_divs = (struct tas2505_rate_divs){ 1, 1, 4, 4800, 2, 7, 128 };
        return 0;
      case 44100U:
        *desired_rate_divs = (struct tas2505_rate_divs){ 1, 1, 4, 4100, 5, 3, 128 };
        return 0;
      case 16000U:
        *desired_rate_divs = (struct tas2505_rate_divs){ 1, 1, 4, 2667, 5, 8, 128 };
        return 0;
      case 8000U:
        *desired_rate_divs = (struct tas2505_rate_divs){ 1, 1, 4, 2667, 10, 8, 128 };
        return 0;
      default:
        LOG_ERR("fs=%u Hz: not in coefficient table", fs);
        return -ENOTSUP;
    }
  } else {
    LOG_ERR("MCLK=%u Hz: no precomputed table; recompute J/D and "
            "NDAC/MDAC/DOSR for this rate", mclk_hz);
    return -ENOTSUP;
  }
}

/**************************************************************************
* Init sequence
**************************************************************************/
int tas2505_init(const struct device *i2c, const struct tas2505_init_params *p)
{
  int ret;
  struct tas2505_rate_divs rate_divs;
  uint8_t iface1;
  const uint8_t clkmux = (uint8_t)(TAS2505_PLL_CLKIN_MCLK | TAS2505_CODEC_CLKIN_PLL);
  uint8_t pllpr;

  if (!device_is_ready(i2c)) {
    LOG_ERR("I2C device not ready");
    return -ENODEV;
  }
  if (p == NULL || (p->word_bits != 16 && p->word_bits != 32)) {
    return -EINVAL;
  }

  ret = tas2505_clk_get_divs(p->mclk_hz, p->sample_rate, &rate_divs);
  if (ret < 0) {
    return ret;
  }

  cur_page = 0xFF;

  /* (1) Software reset.  Self-clears, but waiting 1 ms is safe. */
  ret = tas2505_write(i2c, TAS2505_SW_RESET, 0x01);
  if (ret < 0) {
    return ret;
  }
  k_msleep(2);

  /* (2) Page 1: LDO 1.8 V, level shifters on (early, before PLL). */
  ret = tas2505_write(i2c, TAS2505_LDO_CTRL, 0x00);
  if (ret < 0) {
    return ret;
  }

  /* (3) Page 0: PRB #1, then PLL / codec clock mux. */
  pllpr = (uint8_t)(TAS2505_PWR_UP | ((rate_divs.pll_p & 0x07U) << 4)
                    | (rate_divs.pll_r & 0x0FU));
  const struct reg_seq clk_seq[] = {
    { TAS2505_DAC_PROCBLOCK, 0x01 },
    { TAS2505_CLKMUX, clkmux },
    { TAS2505_PLLPR, pllpr },
    { TAS2505_PLLJ, (uint8_t)(rate_divs.pll_j & 0x3FU) },
    { TAS2505_PLLD_MSB, (uint8_t)((rate_divs.pll_d >> 8) & 0x3F) },
    { TAS2505_PLLD_LSB, (uint8_t)(rate_divs.pll_d & 0xFF) },
  };

  ret = tas2505_apply_seq(i2c, clk_seq, ARRAY_SIZE(clk_seq));
  if (ret < 0) {
    return ret;
  }
  k_msleep(15);

  /* (4) Page 0: I2S interface format and DAC setup. */
  iface1 = (uint8_t)TAS2505_IFACE_I2S;
  switch (p->word_bits) {
    case 16:
      iface1 |= (uint8_t)TAS2505_WLEN_16;
      break;
    case 32:
      iface1 |= (uint8_t)TAS2505_WLEN_32;
      break;
  }
  if (!p->mcu_is_master) {
    iface1 |= (uint8_t)(TAS2505_BCLK_OUT | TAS2505_WCLK_OUT);
  }

  const struct reg_seq iface_dac_clk[] = {
    { TAS2505_IFACE1, iface1 },
    { TAS2505_IFACE2, 0x00 },
    { TAS2505_NDAC, (uint8_t)(TAS2505_PWR_UP | (rate_divs.ndac & 0x7FU)) },
    { TAS2505_MDAC, (uint8_t)(TAS2505_PWR_UP | (rate_divs.mdac & 0x7FU)) },
    { TAS2505_DOSR_MSB, (uint8_t)((rate_divs.dosr >> 8) & 0x03) },
    { TAS2505_DOSR_LSB, (uint8_t)(rate_divs.dosr & 0xFF) },
    { TAS2505_DACSETUP1, TAS2505_DACSETUP1_CLASSD_MONO },
    { TAS2505_DACSETUP2, TAS2505_DACSETUP2_CLASSD_MONO },
    { TAS2505_DACVOL, 0x00 },
  };

  ret = tas2505_apply_seq(i2c, iface_dac_clk, ARRAY_SIZE(iface_dac_clk));
  if (ret < 0) {
    return ret;
  }

  /* (5) Analog reference, Class-D speaker path.  */
  const struct reg_seq analog_out[] = {
    { TAS2505_REF_POR_LDO_BGAP, 0x10 },
    { TAS2505_COMMON_MODE, 0x00 },
    { TAS2505_PLAYBACKCONF1, 0x00 },
    { TAS2505_SPK_VOL_DRV, 0x14 },      /* -10dB */
    { TAS2505_SPK_VOL_AMP, 0x10 },
    { TAS2505_SPK_OCP, 0x00 },
    { TAS2505_SPK_AMP_CTRL, TAS2505_SPK_DRV_ENABLE },
  };

  ret = tas2505_apply_seq(i2c, analog_out, ARRAY_SIZE(analog_out));
  if (ret < 0) {
    return ret;
  }

  LOG_INF("TAS2505 init OK: MCLK=%u fs=%u w%u PLL=%u.%04u N/M/DOSR=%u/%u/%u",
          p->mclk_hz, p->sample_rate, p->word_bits,
          rate_divs.pll_j, rate_divs.pll_d,
          rate_divs.ndac, rate_divs.mdac, rate_divs.dosr);
  return 0;
}

/**************************************************************************
* Runtime control
**************************************************************************/
int tas2505_unmute(const struct device *i2c)
{
  return tas2505_write(i2c, TAS2505_DACSETUP2, TAS2505_DAC_UNMUTE);
}

int tas2505_mute(const struct device *i2c)
{
  return tas2505_write(i2c, TAS2505_DACSETUP2, TAS2505_DAC_MUTE);
}

int tas2505_set_dac_volume(const struct device *i2c, int8_t db_x2)
{
  if (db_x2 < -127 || db_x2 > 48) {
    return -EINVAL;
  }
  return tas2505_write(i2c, TAS2505_DACVOL, (uint8_t)db_x2);
}

int tas2505_set_spk_drv_volume(const struct device *i2c, uint8_t code)
{
  if (code > 117) {
    return -EINVAL;
  }
  return tas2505_write(i2c, TAS2505_SPK_VOL_DRV, code);
}

int tas2505_set_spk_amp_gain(const struct device *i2c, uint8_t code)
{
  if (code > 3) {
    return -EINVAL;
  }
  return tas2505_write(i2c, TAS2505_SPK_VOL_AMP, (uint8_t)(code << 4));
}
```

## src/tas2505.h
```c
/*
 * Copyright (c) 2026 Silicon Laboratories Inc.
 *
 * SPDX-License-Identifier: Apache-2.0
 *
 * TAS2505 codec register map and public API.
 *
 * Reference:
 *   - TAS2505 datasheet (SLAS561)
 *   - TAS2505 application reference guide (SLAA557)
 *   - TAS2505 user guide (SLAU472C)
 */

#ifndef TAS2505_H
#define TAS2505_H

#include <stdint.h>
#include <zephyr/device.h>

/* Default 7-bit I2C address */
#define TAS2505_I2C_ADDR 0x18

/* Encode (page, offset) into a single 16-bit register handle.  The driver
 * splits page from offset on every transaction and writes Page Select
 * (page-0/reg-0) only when the page actually changes.
 */
#define TAS2505_REG(page, reg) ((page * 128) + reg)
#define TAS2505_REG_PAGE(r)    (((r) >> 7) & 0xFF)
#define TAS2505_REG_OFFSET(r)  ((r) & 0x7F)

/* Page 0 -- clocks, interface, DAC */
#define TAS2505_PAGECTL              TAS2505_REG(0, 0)
#define TAS2505_SW_RESET             TAS2505_REG(0, 1)
#define TAS2505_CLKMUX               TAS2505_REG(0, 4)
#define TAS2505_PLLPR                TAS2505_REG(0, 5)
#define TAS2505_PLLJ                 TAS2505_REG(0, 6)
#define TAS2505_PLLD_MSB             TAS2505_REG(0, 7)
#define TAS2505_PLLD_LSB             TAS2505_REG(0, 8)
#define TAS2505_NDAC                 TAS2505_REG(0, 11)
#define TAS2505_MDAC                 TAS2505_REG(0, 12)
#define TAS2505_DOSR_MSB             TAS2505_REG(0, 13)
#define TAS2505_DOSR_LSB             TAS2505_REG(0, 14)
#define TAS2505_CDIV_CLKIN           TAS2505_REG(0, 25)
#define TAS2505_CLKOUT_DIV           TAS2505_REG(0, 26)
#define TAS2505_IFACE1               TAS2505_REG(0, 27)
#define TAS2505_IFACE2               TAS2505_REG(0, 28)
#define TAS2505_IFACE3               TAS2505_REG(0, 29)
#define TAS2505_BCLKNDIV             TAS2505_REG(0, 30)
#define TAS2505_DACFLAG1             TAS2505_REG(0, 37)
#define TAS2505_DACFLAG2             TAS2505_REG(0, 38)
#define TAS2505_STICKYFLAG1          TAS2505_REG(0, 42)
#define TAS2505_INTFLAG1             TAS2505_REG(0, 43)
#define TAS2505_STICKYFLAG2          TAS2505_REG(0, 44)
#define TAS2505_INTFLAG2             TAS2505_REG(0, 46)
#define TAS2505_DAC_PROCBLOCK        TAS2505_REG(0, 60)
#define TAS2505_DACSETUP1            TAS2505_REG(0, 63)
#define TAS2505_DACSETUP2            TAS2505_REG(0, 64)
#define TAS2505_DACVOL               TAS2505_REG(0, 65)

/* Page 1 -- analog, LDO, speaker amp */
#define TAS2505_REF_POR_LDO_BGAP     TAS2505_REG(1, 1)
#define TAS2505_LDO_CTRL             TAS2505_REG(1, 2)
#define TAS2505_PLAYBACKCONF1        TAS2505_REG(1, 3)
#define TAS2505_OUTPUT_DRV_PWR       TAS2505_REG(1, 9)
#define TAS2505_COMMON_MODE          TAS2505_REG(1, 10)
#define TAS2505_HP_OUT_DRV           TAS2505_REG(1, 12)
#define TAS2505_HP_DRV_GAIN          TAS2505_REG(1, 16)
#define TAS2505_SPK_AMP_CTRL         TAS2505_REG(1, 45)
#define TAS2505_SPK_VOL_DRV          TAS2505_REG(1, 46)
#define TAS2505_SPK_VOL_AMP          TAS2505_REG(1, 48)
#define TAS2505_SPK_OCP              TAS2505_REG(1, 82)

/* Bit-field helpers */
/* CLKMUX (P0/R4) */
#define TAS2505_PLL_CLKIN_MCLK       0x00
#define TAS2505_PLL_CLKIN_BCLK       0x04
#define TAS2505_PLL_CLKIN_GPIO       0x08
#define TAS2505_PLL_CLKIN_DIN        0x0C
#define TAS2505_CODEC_CLKIN_MCLK     0x00
#define TAS2505_CODEC_CLKIN_BCLK     0x01
#define TAS2505_CODEC_CLKIN_GPIO     0x02
#define TAS2505_CODEC_CLKIN_PLL      0x03

/* PLL/NDAC/MDAC power bit (D7=1 to power up) */
#define TAS2505_PWR_UP               0x80

/* IFACE1 (P0/R27) */
#define TAS2505_IFACE_I2S            0x00
#define TAS2505_IFACE_DSP            0x40
#define TAS2505_IFACE_RJF            0x80
#define TAS2505_IFACE_LJF            0xC0
#define TAS2505_WLEN_16              0x00
#define TAS2505_WLEN_20              0x10
#define TAS2505_WLEN_24              0x20
#define TAS2505_WLEN_32              0x30
#define TAS2505_BCLK_OUT             0x08   /* TAS2505 drives BCLK (BCLK_OUT) */
#define TAS2505_WCLK_OUT             0x04   /* TAS2505 drives WCLK (WCLK_OUT) */

/* DACSETUP1 (P0/R63): Class-D mono playback — LDAC only, RDAC data off */
#define TAS2505_DACSETUP1_CLASSD_MONO 0xB0

/* DACSETUP2 (P0/R64): L unmuted, R muted for mono Class-D path. */
#define TAS2505_DACSETUP2_CLASSD_MONO 0x04
#define TAS2505_DAC_MUTE              0x08
#define TAS2505_DAC_UNMUTE            TAS2505_DACSETUP2_CLASSD_MONO

/* SPK_AMP_CTRL (P1/R45): D1=power on speaker driver */
#define TAS2505_SPK_DRV_ENABLE       0x02

struct tas2505_init_params {
  uint32_t mclk_hz;          /* MCLK feeding PLL_CLKIN, e.g. 12800000 */
  uint32_t sample_rate;      /* I2S frame clock target, e.g. 48000 */
  uint8_t  word_bits;        /* 16 or 32 */
  bool     mcu_is_master;    /* true: MCU drives BCLK+WCLK (typical) */
};

int tas2505_init(const struct device *i2c_dev, const struct tas2505_init_params *p);
int tas2505_unmute(const struct device *i2c_dev);
int tas2505_mute(const struct device *i2c_dev);
int tas2505_set_dac_volume(const struct device *i2c_dev, int8_t db_x2);
int tas2505_set_spk_drv_volume(const struct device *i2c_dev, uint8_t code);
int tas2505_set_spk_amp_gain(const struct device *i2c_dev, uint8_t code);

#endif /* TAS2505_H */
```
